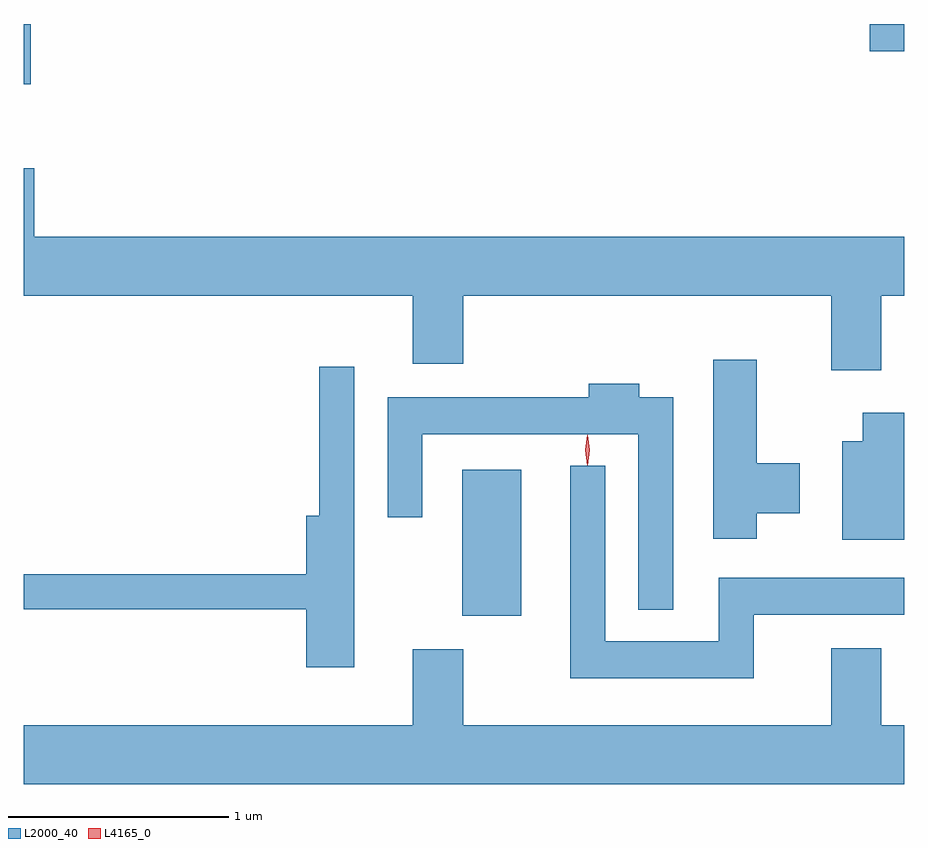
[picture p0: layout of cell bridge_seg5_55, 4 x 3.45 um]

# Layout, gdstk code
import gdstk
lib = gdstk.Library(unit=1e-6, precision=1e-09)
def R(c, l, rs):  # rectangles x0, y0, x1, y1
    for r in rs: c.add(gdstk.rectangle(r[:2], r[2:], *l))
def P(c, l, *ps):  # polygons
    for p in ps: c.add(gdstk.Polygon(p, *l))
L2000_40 = (2000, 40)
L4165_0 = (4165, 0)

bridge_seg5_55 = lib.new_cell('bridge_seg5_55')
R(bridge_seg5_55, L2000_40, [(1301.956,1475.321,1302.224,1475.984), (1299.963,1477.736,1299.994,1478.01), (1303.806,1477.886,1303.963,1478.01)])
P(bridge_seg5_55, L2000_40, [(1303.859,1476.776),(1303.963,1476.776),(1303.963,1477.044),(1300.009,1477.044),(1300.009,1477.354),(1299.963,1477.354),(1299.963,1476.776),(1301.731,1476.776),(1301.731,1476.466),(1301.959,1476.466),(1301.959,1476.776),(1303.631,1476.776),(1303.631,1476.436),(1303.859,1476.436)],
  [(1303.294,1475.786),(1303.489,1475.786),(1303.489,1476.014),(1303.294,1476.014),(1303.294,1476.484),(1303.096,1476.484),(1303.096,1475.671),(1303.294,1475.671)],
  [(1301.464,1476.453),(1301.306,1476.453),(1301.306,1475.774),(1301.246,1475.774),(1301.246,1475.509),(1299.963,1475.509),(1299.963,1475.351),(1301.246,1475.351),(1301.246,1475.086),(1301.464,1475.086)],
  [(1302.914,1476.314),(1302.759,1476.314),(1302.759,1476.374),(1302.531,1476.374),(1302.531,1476.314),(1301.616,1476.314),(1301.616,1475.768),(1301.774,1475.768),(1301.774,1476.146),(1302.756,1476.146),(1302.756,1475.348),(1302.914,1475.348)],
  [(1303.963,1476.244),(1303.776,1476.244),(1303.776,1476.114),(1303.681,1476.114),(1303.681,1475.666),(1303.963,1475.666)],
  [(1303.279,1475.326),(1303.963,1475.326),(1303.963,1475.494),(1303.121,1475.494),(1303.121,1475.204),(1302.604,1475.204),(1302.604,1476.003),(1302.446,1476.003),(1302.446,1475.036),(1303.279,1475.036)],
  [(1303.963,1474.824),(1303.859,1474.824),(1303.859,1475.174),(1303.631,1475.174),(1303.631,1474.824),(1301.959,1474.824),(1301.959,1475.169),(1301.731,1475.169),(1301.731,1474.824),(1299.963,1474.824),(1299.963,1474.556),(1303.963,1474.556)])
P(bridge_seg5_55, L4165_0, [(1302.524,1476.007),(1302.515,1476.074),(1302.524,1476.14),(1302.525,1476.141),(1302.525,1476.14),(1302.535,1476.074),(1302.525,1476.007),(1302.525,1476.007)],
  [(1302.524,1476.004),(1302.515,1476.073),(1302.524,1476.142),(1302.525,1476.143),(1302.525,1476.142),(1302.535,1476.073),(1302.525,1476.004),(1302.525,1476.004)])

lib.write_gds('bridge_seg5_55.gds')
